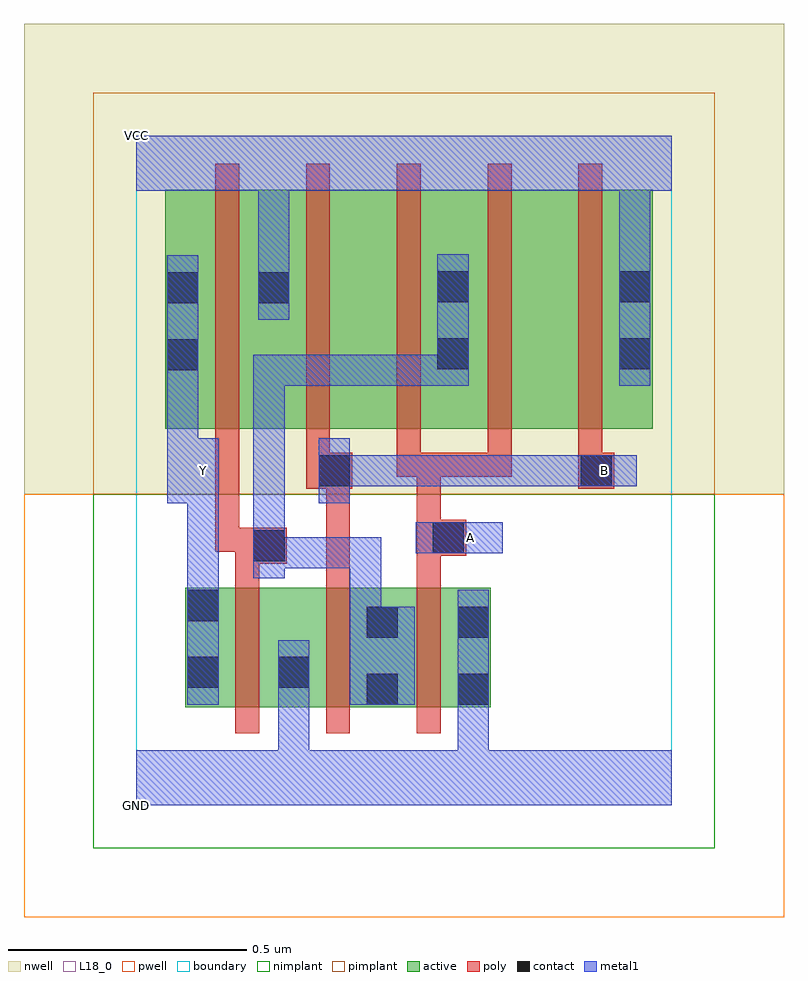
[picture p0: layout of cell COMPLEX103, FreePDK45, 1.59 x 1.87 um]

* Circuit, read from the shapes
.subckt COMPLEX103 A B GND VCC Y
M1 GND n1 Y VSUBS nfet w=0.25u l=0.05u
M2 n1 B GND VSUBS nfet w=0.25u l=0.05u
M3 GND A n1 VSUBS nfet w=0.25u l=0.05u
M4 VCC n1 Y n2 pfet w=0.5u l=0.05u
M5 n3 B VCC n2 pfet w=0.5u l=0.05u
M6 n1 A n3 n2 pfet w=0.5u l=0.05u
M7 n4 A n1 n2 pfet w=0.5u l=0.05u
M8 VCC B n4 n2 pfet w=0.5u l=0.05u
.ends

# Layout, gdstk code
import gdstk
lib = gdstk.Library(unit=1e-6, precision=1e-09)
def R(c, l, rs):  # rectangles x0, y0, x1, y1
    for r in rs: c.add(gdstk.rectangle(r[:2], r[2:], *l))
def A(c, l, x, y, w, h, nx, ny, dx, dy):  # array of equal rectangles
    R(c, l, [(x+i*dx, y+j*dy, x+i*dx+w, y+j*dy+h) for i in range(nx) for j in range(ny)])
active = (1, 0)
pwell = (2, 0)
nwell = (3, 0)
nimplant = (4, 0)
pimplant = (5, 0)
poly = (9, 0)
contact = (10, 0)
metal1 = (11, 0)
L18_0 = (18, 0)
boundary = (235, 0)

complex103 = lib.new_cell('COMPLEX103')
R(complex103, active, [(0.102,0.205,0.367,0.455), (0.292,0.205,0.552,0.455), (0.477,0.205,0.552,0.455), (0.477,0.205,0.742,0.455), (0.667,0.205,0.742,0.455), (0.102,0.24,0.177,0.455), (0.292,0.24,0.367,0.342), (0.06,0.787,0.325,1.287), (0.06,0.787,0.135,1.2), (0.25,0.787,0.475,1.287), (0.475,0.787,0.7,1.287), (0.625,0.787,0.855,1.287), (0.855,0.787,1.08,1.287), (1.005,0.787,1.08,1.205), (0.25,0.807,0.325,1.205), (0.625,0.807,0.7,1.2)])
R(complex103, pwell, [(-0.235,-0.235,1.355,0.65)])
R(complex103, nwell, [(-0.235,0.65,1.355,1.635)])
R(complex103, nimplant, [(-0.09,-0.09,1.21,0.65)])
R(complex103, pimplant, [(-0.09,0.65,1.21,1.49)])
A(complex103, poly, 0.207, 0.15, 0.05, 0.36, 3, 1, 0.19, 0)
A(complex103, poly, 0.355, 0.687, 0.05, 0.095, 4, 1, 0.19, 0)
A(complex103, poly, 0.165, 0.732, 0.05, 0.61, 5, 1, 0.19, 0)
R(complex103, poly, [(0.207,0.46,0.257,0.555), (0.397,0.46,0.447,0.712), (0.587,0.46,0.637,0.572), (0.207,0.505,0.315,0.58), (0.587,0.522,0.69,0.597), (0.165,0.53,0.257,0.58), (0.165,0.53,0.215,0.782), (0.207,0.53,0.257,0.58), (0.587,0.547,0.637,0.737), (0.355,0.662,0.452,0.737), (0.397,0.662,0.447,0.712), (0.397,0.662,0.447,0.712), (0.925,0.662,1,0.737), (0.545,0.687,0.637,0.737), (0.587,0.687,0.785,0.737), (0.587,0.687,0.637,0.737), (0.587,0.687,0.637,0.737), (0.735,0.687,0.785,0.737)])
R(complex103, contact, [(0.482,0.21,0.547,0.275), (0.672,0.21,0.737,0.275), (0.107,0.245,0.172,0.31), (0.297,0.245,0.362,0.31), (0.482,0.35,0.547,0.415), (0.672,0.35,0.737,0.415), (0.107,0.385,0.172,0.45), (0.245,0.51,0.31,0.575), (0.62,0.527,0.685,0.592), (0.382,0.667,0.447,0.732), (0.93,0.667,0.995,0.732), (0.065,0.91,0.13,0.975), (0.63,0.912,0.695,0.977), (1.01,0.912,1.075,0.977), (0.065,1.05,0.13,1.115), (0.255,1.05,0.32,1.115), (0.63,1.052,0.695,1.117), (1.01,1.052,1.075,1.117)])
R(complex103, metal1, [(0,0,1.12,0.115), (0.297,0.05,0.362,0.275), (0.672,0.05,0.737,0.115), (0.672,0.05,0.737,0.115), (0.672,0.05,0.737,0.115), (0.672,0.05,0.737,0.115), (0.672,0.05,0.737,0.24), (0.672,0.175,0.737,0.45), (0.107,0.21,0.172,0.485), (0.297,0.21,0.362,0.275), (0.297,0.21,0.362,0.275), (0.297,0.21,0.362,0.275), (0.297,0.21,0.362,0.275), (0.297,0.21,0.362,0.345), (0.447,0.21,0.582,0.415), (0.447,0.35,0.512,0.56), (0.107,0.42,0.172,0.697), (0.245,0.475,0.31,0.61), (0.245,0.495,0.31,0.56), (0.245,0.495,0.31,0.56), (0.245,0.495,0.512,0.56), (0.245,0.495,0.31,0.942), (0.447,0.495,0.512,0.56), (0.447,0.495,0.512,0.56), (0.447,0.495,0.512,0.56), (0.585,0.527,0.767,0.592), (0.065,0.632,0.172,0.767), (0.382,0.632,0.447,0.767), (0.382,0.667,0.447,0.732), (0.382,0.667,0.447,0.732), (0.382,0.667,0.685,0.732), (0.62,0.667,0.685,0.732), (0.62,0.667,0.685,0.732), (0.62,0.667,0.685,0.732), (0.62,0.667,0.822,0.732), (0.757,0.667,0.96,0.732), (0.757,0.667,0.822,0.732), (0.757,0.667,0.822,0.732), (0.757,0.667,0.822,0.732), (0.895,0.667,1.047,0.732), (0.065,0.702,0.13,0.767), (0.065,0.702,0.13,0.767), (0.065,0.702,0.13,0.94), (0.065,0.875,0.13,1.15), (0.245,0.877,0.31,0.942), (0.245,0.877,0.31,0.942), (0.245,0.877,0.31,0.942), (0.245,0.877,0.512,0.942), (0.447,0.877,0.512,0.942), (0.447,0.877,0.512,0.942), (0.447,0.877,0.512,0.942), (0.447,0.877,0.685,0.942), (0.62,0.877,0.685,0.942), (0.62,0.877,0.695,0.942), (0.63,0.877,0.695,1.152), (1.01,0.877,1.075,1.152), (0.255,1.015,0.32,1.15), (0.255,1.085,0.32,1.35), (1.01,1.087,1.075,1.35), (0,1.285,1.12,1.4)])
R(complex103, L18_0, [(0,0,1.12,0.115), (0.297,0.05,0.362,0.275), (0.672,0.05,0.737,0.115), (0.672,0.05,0.737,0.115), (0.672,0.05,0.737,0.115), (0.672,0.05,0.737,0.115), (0.672,0.05,0.737,0.24), (0.672,0.175,0.737,0.45), (0.107,0.21,0.172,0.485), (0.297,0.21,0.362,0.275), (0.297,0.21,0.362,0.275), (0.297,0.21,0.362,0.275), (0.297,0.21,0.362,0.275), (0.297,0.21,0.362,0.345), (0.107,0.42,0.172,0.697), (0.585,0.527,0.767,0.592), (0.667,0.527,0.732,0.592), (0.065,0.632,0.172,0.767), (0.382,0.632,0.447,0.767), (0.107,0.667,0.172,0.732), (0.382,0.667,0.447,0.732), (0.382,0.667,0.447,0.732), (0.382,0.667,0.685,0.732), (0.62,0.667,0.685,0.732), (0.62,0.667,0.685,0.732), (0.62,0.667,0.685,0.732), (0.62,0.667,0.822,0.732), (0.757,0.667,0.822,0.732), (0.757,0.667,0.822,0.732), (0.757,0.667,0.822,0.732), (0.757,0.667,0.96,0.732), (0.895,0.667,1.047,0.732), (0.947,0.667,1.012,0.732), (0.065,0.702,0.13,0.767), (0.065,0.702,0.13,0.767), (0.065,0.702,0.13,0.94), (0.065,0.875,0.13,1.15), (1.01,0.877,1.075,1.152), (0.255,1.015,0.32,1.15), (0.255,1.085,0.32,1.35), (1.01,1.087,1.075,1.35), (0,1.285,1.12,1.4)])
R(complex103, boundary, [(0,0,1.12,1.4)])
complex103.add(gdstk.Label('A', (0.7,0.56), layer=11, texttype=0))
complex103.add(gdstk.Label('B', (0.98,0.7), layer=11, texttype=0))
complex103.add(gdstk.Label('Y', (0.14,0.7), layer=11, texttype=0))
complex103.add(gdstk.Label('VCC', (0,1.4), layer=11, texttype=0))
complex103.add(gdstk.Label('GND', (0,0), layer=11, texttype=0))

lib.write_gds('COMPLEX103.gds')
